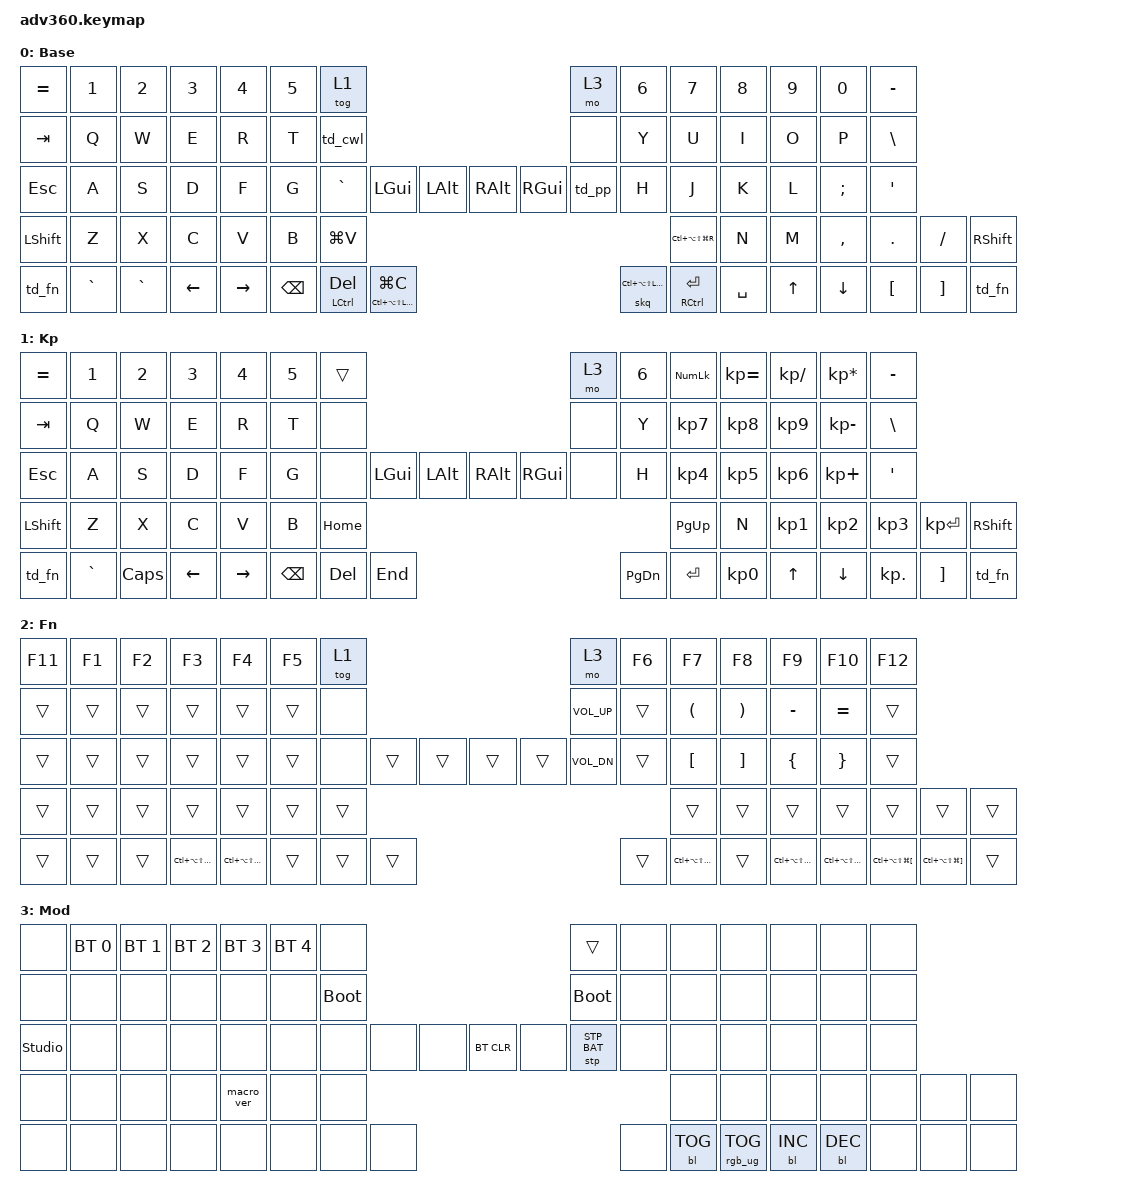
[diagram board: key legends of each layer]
#include <behaviors.dtsi>
#include <dt-bindings/zmk/keys.h>
#include <dt-bindings/zmk/bt.h>
#include <dt-bindings/zmk/rgb.h>
#include <dt-bindings/zmk/stp.h>
#include <dt-bindings/zmk/backlight.h>
#include <dt-bindings/zmk/pointing.h>

/ {
    behaviors {
      #include "macros.dtsi"
      #include "version.dtsi"

      ht_hp: hold_tap_hold_preferred {
        compatible = "zmk,behavior-hold-tap";
        #binding-cells = <2>;
        flavor = "hold-preferred";
        tapping-term-ms = <200>;
        quick-tap-ms = <175>;
        bindings = <&kp>, <&kp>;
      };

      skq: sticky_key_quick_release {
        compatible = "zmk,behavior-sticky-key";
        #binding-cells = <1>;
        bindings = <&kp>;
        release-after-ms = <700>;
        quick-release;
        ignore-modifiers;
      };

      td_cwl: tap_dance_caps_word_lock {
        compatible = "zmk,behavior-tap-dance";
        #binding-cells = <0>;
        tapping-term-ms = <200>;
        bindings = <&caps_word>, <&kp CAPS>;
      };

      td_fn: tap_dance_fn {
        compatible = "zmk,behavior-tap-dance";
        #binding-cells = <0>;
        tapping-term-ms = <200>;
        bindings = <&sl 2>, <&tog 2>;
      };

      td_pp: tap_dance_play_pause {
        compatible = "zmk,behavior-tap-dance";
        #binding-cells = <0>;
        tapping-term-ms = <200>;
        bindings = <&kp C_PLAY_PAUSE>, <&kp C_NEXT>, <&kp C_PREV>;
      };

    };

  keymap {
    compatible = "zmk,keymap";

    default_layer {
      display-name = "Base";
      bindings = <
        &kp EQUAL &kp N1    &kp N2      &kp N3   &kp N4     &kp N5 &tog 1                                                                           &mo 3     &kp N6 &kp N7 &kp N8    &kp N9   &kp N0   &kp MINUS
        &kp TAB   &kp Q     &kp W       &kp E    &kp R      &kp T  &td_cwl                                                                          &none     &kp Y  &kp U  &kp I     &kp O    &kp P    &kp BSLH
        &kp ESC   &kp A     &kp S       &kp D    &kp F      &kp G  &kp GRAVE    &kp LGUI         &kp LALT  &kp RALT              &kp RGUI           &td_pp    &kp H  &kp J  &kp K     &kp L    &kp SEMI &kp SQT
        &kp LSHFT &kp Z     &kp X       &kp C    &kp V      &kp B                                &kp LG(V) &kp LC(LA(LS(LG(R))))                                          &kp N  &kp M  &kp COMMA &kp DOT  &kp FSLH &kp RSHFT
        &td_fn    &kp GRAVE &kp GRAVE   &kp LEFT &kp RIGHT         &kp BSPC     &ht_hp LCTRL DEL &ht_hp LC(LA(LS(LGUI))) LG(C) &skq LC(LA(LS(LGUI))) &ht_hp RCTRL ENTER &kp SPACE        &kp UP &kp DOWN  &kp LBKT &kp RBKT &td_fn
      >;
    };
    keypad {
      display-name = "Kp";
      bindings = <
        &kp EQUAL &kp N1    &kp N2   &kp N3   &kp N4     &kp N5 &trans                                                           &mo 3 &kp N6 &kp KP_NUM &kp KP_EQUAL &kp KP_DIVIDE &kp KP_MULTIPLY &kp MINUS
        &kp TAB   &kp Q     &kp W    &kp E    &kp R      &kp T  &none                                                            &none &kp Y  &kp KP_N7  &kp KP_N8    &kp KP_N9     &kp KP_MINUS    &kp BSLH
        &kp ESC   &kp A     &kp S    &kp D    &kp F      &kp G  &none           &kp LGUI  &kp LALT &kp RALT  &kp RGUI            &none &kp H  &kp KP_N4  &kp KP_N5    &kp KP_N6     &kp KP_PLUS     &kp SQT
        &kp LSHFT   &kp Z     &kp X    &kp C    &kp V      &kp B                            &kp HOME &kp PG_UP                           &kp N  &kp KP_N1  &kp KP_N2    &kp KP_N3     &kp KP_ENTER    &kp RSHFT
        &td_fn     &kp GRAVE &kp CAPS &kp LEFT &kp RIGHT                &kp BSPC &kp DEL   &kp END  &kp PG_DN &kp ENTER &kp KP_N0              &kp UP     &kp DOWN     &kp KP_DOT    &kp RBKT        &td_fn
      >;
    };
    fn {
      display-name = "Fn";
      bindings = <
        &kp F11 &kp F1 &kp F2 &kp F3 &kp F4 &kp F5  &tog 1                                         &mo 3        &kp F6 &kp F7 &kp F8 &kp F9 &kp F10 &kp F12
        &trans &trans &trans &trans &trans &trans  &none                                           &kp C_VOL_UP &trans &kp LPAR &kp RPAR &kp MINUS &kp EQUAL  &trans
        &trans &trans &trans &trans &trans &trans  &none        &trans &trans &trans &trans        &kp C_VOL_DN &trans &kp LBKT &kp RBKT &kp LBRC  &kp RBRC  &trans
        &trans &trans &trans &trans &trans &trans                      &trans &trans                            &trans &trans &trans &trans  &trans  &trans
        &trans &trans &trans &kp LC(LA(LS(LG(LEFT)))) &kp LC(LA(LS(LG(RIGHT))))         &trans &trans &trans &trans &kp LC(LA(LS(LG(ENTER)))) &trans         &kp LC(LA(LS(LG(UP)))) &kp LC(LA(LS(LG(DOWN)))) &kp LC(LA(LS(LG(LBKT))))  &kp LC(LA(LS(LG(RBKT))))  &trans
      >;
    };
    mod {
      display-name = "Mod";
      bindings = <
        &none &bt BT_SEL 0 &bt BT_SEL 1 &bt BT_SEL 2 &bt BT_SEL 3 &bt BT_SEL 4 &none                                                                     &trans                 &none        &none        &none        &none &none &none
        &none &none        &none        &none        &none        &none        &bootloader                                                               &bootloader            &none        &none        &none        &none &none &none
        &studio_unlock &none        &none        &none        &none        &none        &none                   &none &none &bt BT_CLR &none                      &stp STP_BAT &none        &none        &none        &none &none &none
        &none &none        &none        &none        &macro_ver   &none                                      &none &none                                                        &none        &none        &none        &none &none &none
        &none &none        &none        &none        &none                                       &none &none &none &none      &bl BL_TOG &rgb_ug RGB_TOG                                     &bl BL_INC   &bl BL_DEC   &none &none &none
      >;
    };
    extra1 { 
      display-name = "Red";    
      status = "reserved";
    };

    extra2 { 
      display-name = "Purple";    
      status = "reserved";
    };

    extra3 { 
      display-name = "Cyan";    
      status = "reserved";
    };

    extra4 { 
      display-name = "Yellow";    
      status = "reserved";
    };
  };
};
